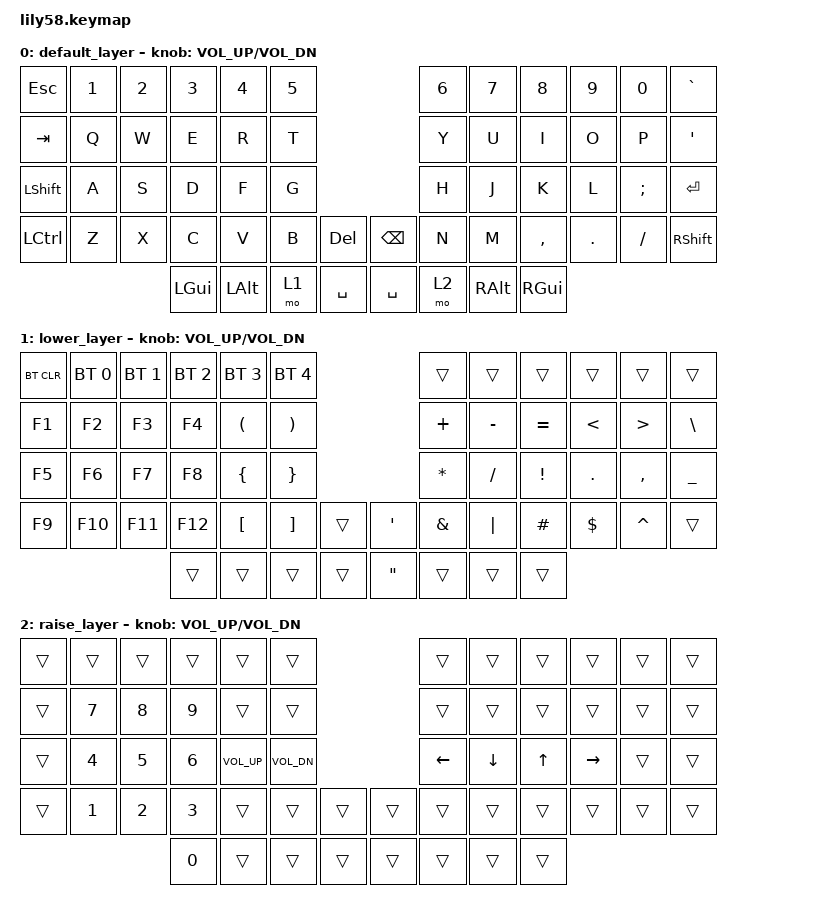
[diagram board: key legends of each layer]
/*
 * Copyright (c) 2020 The ZMK Contributors
 *
 * SPDX-License-Identifier: MIT
 */

#include <behaviors.dtsi>
#include <dt-bindings/zmk/keys.h>
#include <dt-bindings/zmk/bt.h>
#include <dt-bindings/zmk/ext_power.h>

// Not sure if needed &ext_power EP_ON &ext_power EP_OFF &ext_power EP_TOG

/ {
	keymap {
		compatible = "zmk,keymap";

		default_layer {
// ------------------------------------------------------------------------------------------------------------
// |  ESC  |  1  |  2  |  3   |  4   |  5   |                   |  6   |  7    |  8    |  9   |   0   |   `   |
// |  TAB  |  Q  |  W  |  E   |  R   |  T   |                   |  Y   |  U    |  I    |  O   |   P   |   '   |
// | SHIFT |  A  |  S  |  D   |  F   |  G   |                   |  H   |  J    |  K    |  L   |   ;   |  RET  | 
// |  CTRL |  Z  |  X  |  C   |  V   |  B   |   DEL  |  | BSPC  |  N   |  M    |  ,    |  .   |   /   | SHIFT |
//                     | GUI  | ALT  | LOWER|  SPACE |  | SPACE | RAISE|  ALT  | GUI   |
			bindings = <
&kp ESC   &kp N1 &kp N2 &kp N3   &kp N4   &kp N5                      &kp N6 &kp N7   &kp N8    &kp N9  &kp N0   &kp GRAVE
&kp TAB   &kp Q  &kp W  &kp E    &kp R    &kp T                       &kp Y  &kp U    &kp I     &kp O   &kp P    &kp SQT
&kp LSHFT &kp A  &kp S  &kp D    &kp F    &kp G                       &kp H  &kp J    &kp K     &kp L   &kp SEMI &kp RET
&kp LCTRL &kp Z  &kp X  &kp C    &kp V    &kp B  &kp DEL    &kp BSPC  &kp N  &kp M    &kp COMMA &kp DOT &kp FSLH &kp RSHFT
                        &kp LGUI &kp LALT &mo 1  &kp SPACE  &kp SPACE &mo 2  &kp RALT  &kp RGUI
			>;

			sensor-bindings = <&inc_dec_kp C_VOL_UP C_VOL_DN>;
		};

		lower_layer {
// ------------------------------------------------------------------------------------------------------------
// | BTCLR | BT1 | BT2 |  BT3 |  BT4 |  BT5 |                   |      |       |       |      |       |       |
// |  F1   |  F2 |  F3 |  F4  |  (   |  )   |                   |  +   |  -    |  =    |  <   |  >    |  \    |
// |  F5   |  F6 |  F7 |  F8  |  {   |  }   |                   |  *   |  /    |  !    |  .   |  ,    |  _    |
// |  F9   | F10 | F11 | F12  |  "[" |  "]" |        |  |  '    |  &   |  "|"  |  #    |  $   |  ^    |       |
//                     |      |      |      |        |  |  "    |      |       |       |
			bindings = <
&bt BT_CLR &bt BT_SEL 0     &bt BT_SEL 1      &bt BT_SEL 2      &bt BT_SEL 3 &bt BT_SEL 4                 &trans           &trans     &trans          &trans       &trans     &trans
&kp F1     &kp F2           &kp F3            &kp F4            &kp LPAR     &kp RPAR                     &kp PLUS         &kp MINUS  &kp EQUAL       &kp LT       &kp GT     &kp BACKSLASH 
&kp F5     &kp F6           &kp F7            &kp F8            &kp LBRC     &kp RBRC                     &kp ASTERISK     &kp FSLH   &kp EXCL        &kp DOT      &kp COMMA  &kp UNDER 
&kp F9     &kp F10          &kp F11           &kp F12           &kp LBKT     &kp RBKT  &trans   &kp SQT   &kp AMPS         &kp PIPE   &kp HASH        &kp DOLLAR   &kp CARET  &trans
                                              &trans            &trans       &trans    &trans   &kp DQT   &trans           &trans     &trans
			>;

			sensor-bindings = <&inc_dec_kp C_VOL_UP C_VOL_DN>;
		};

		raise_layer {
// ------------------------------------------------------------------------------------------------------------
// |       |     |     |      |        |          |                   |      |       |       |      |       |       |
// |       |  7  |  8  |  9   |        |          |                   |      |       |       |      |       |       |
// |       |  4  |  5  |  6   | VOL_UP | VOL_DOWN |                   |  <-  |   v   |   ^   |  ->  |       |       |
// |       |  1  |  2  |  3   |        |          |        |  |       |      |       |       |      |       |       |
//                     |  0   |        |          |        |  |       |      |       |       |
			bindings = <
&trans    &trans &trans &trans  &trans        &trans                          &trans      &trans    &trans    &trans    &trans    &trans
&trans    &kp N7 &kp N8 &kp N9  &trans        &trans                          &trans      &trans    &trans    &trans    &trans    &trans
&trans    &kp N4 &kp N5 &kp N6  &kp C_VOL_UP  &kp C_VOL_DN                    &kp LEFT    &kp DOWN  &kp UP    &kp RIGHT &trans    &trans
&trans    &kp N1 &kp N2 &kp N3  &trans        &trans       &trans   &trans    &trans      &trans    &trans    &trans    &trans    &trans
                        &kp N0  &trans        &trans       &trans   &trans    &trans      &trans    &trans
			>;

			sensor-bindings = <&inc_dec_kp C_VOL_UP C_VOL_DN>;
		};
	};
};
